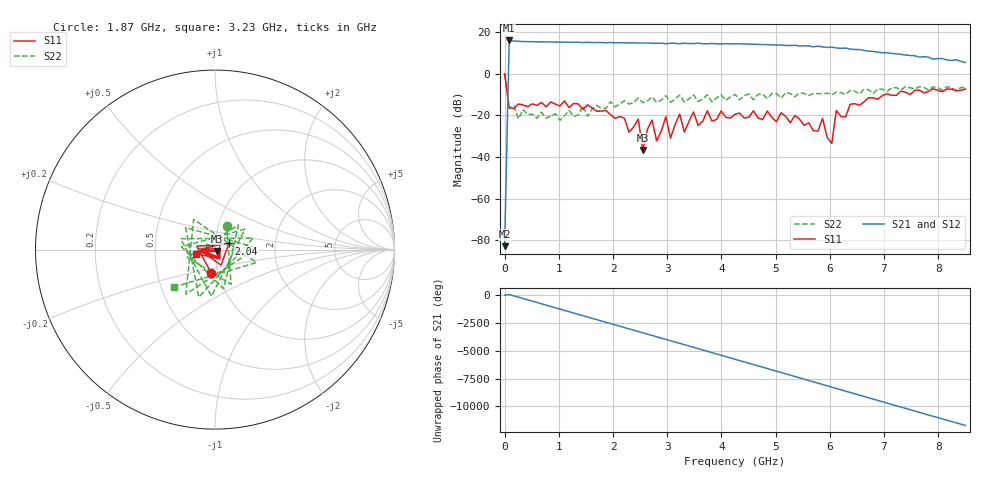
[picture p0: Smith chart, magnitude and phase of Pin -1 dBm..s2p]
! RsaToolbox (C) 2013 Rohde & Schwarz America
! Number of points: 101
! Number of ports: 2
! Balanced ports?: 0
# Hz S RI R 50
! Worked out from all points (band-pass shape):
!   101 points, 9 kHz to 8.5 GHz, reference 50 ohm
!   highest |S21| = 16.00 dB at 85.01 MHz (marker M1); lowest = -82.9 dB at 9 kHz (marker M2)
!   |S21| within 3 dB of the highest: 82.43 MHz to 5.682 GHz (5.6 GHz wide, 194 % of centre); 5.712 GHz to 5.842 GHz (130 MHz wide, 2.25 % of centre)
!   lowest |S11| = -36.6 dB at 2.55 GHz (marker M3), VSWR 1.03, Z = 51.3 - j0.802 ohm
!   |S11| at or under -10 dB: 52.5 MHz to 7.021 GHz (6.968 GHz wide, 197 % of centre); 7.095 GHz to 7.241 GHz (146.5 MHz wide, 2.04 % of centre); 7.476454 GHz to 7.482085 GHz (5.631 MHz wide, 0.0753 % of centre)
!   |S22| runs from -22.4 to 0.1 dB; largest |S21 - S12| = 0
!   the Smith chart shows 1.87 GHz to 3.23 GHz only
!   S11 on the Smith chart (normalised r, x): 1.87 GHz: 0.93, -0.25; 2.04 GHz: 1.17, +0.08; 3.23 GHz: 0.81, -0.04
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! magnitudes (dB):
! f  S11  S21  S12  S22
! 9 kHz  0.0  -82.9  -82.9  0.1
! 85.01 MHz  -16.2  16.0  16.0  -16.6
! 1.445 GHz  -17.2  15.0  15.0  -15.3
! 1.87 GHz  -17.6  14.9  14.9  -16.6
! 2.04 GHz  -21.4  14.9  14.9  -15.9
! 2.465 GHz  -21.8  14.7  14.7  -11.7
! 2.55 GHz  -36.6  14.7  14.7  -14.0
! 2.72 GHz  -22.3  14.6  14.6  -11.1
! 2.805 GHz  -32.3  14.6  14.6  -13.8
! 2.89 GHz  -27.6  14.7  14.7  -12.7
! 2.975 GHz  -20.6  14.4  14.4  -10.6
! 3.06 GHz  -31.0  14.7  14.7  -13.7
! 3.23 GHz  -19.4  14.4  14.4  -10.2
! 3.315 GHz  -28.0  14.7  14.7  -13.6
! 3.485 GHz  -18.4  14.5  14.5  -10.2
! 4.25 GHz  -19.5  14.4  14.4  -9.9
! 5.695 GHz  -27.4  12.9  12.9  -9.5
! 5.865 GHz  -21.5  12.9  12.9  -9.6
! 6.035 GHz  -33.5  12.8  12.8  -10.0
! 6.12 GHz  -17.7  12.4  12.4  -8.8
! 7.14 GHz  -10.4  9.8  9.8  -6.8
! 8.5 GHz  -7.4  5.4  5.4  -6.7
